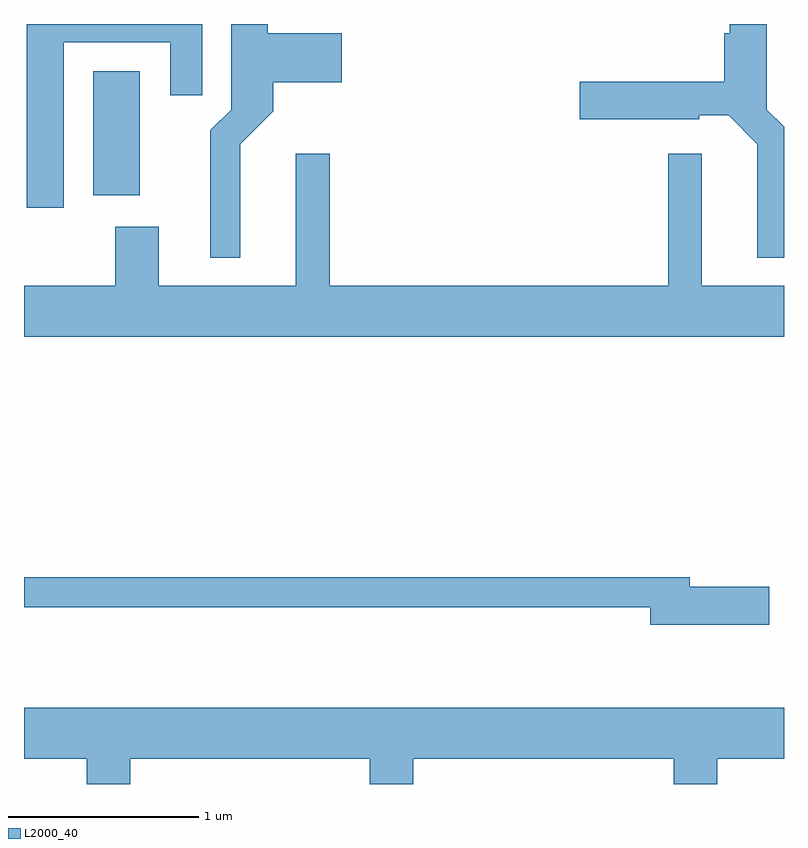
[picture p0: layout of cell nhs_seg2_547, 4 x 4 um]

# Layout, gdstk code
import gdstk
lib = gdstk.Library(unit=1e-6, precision=1e-09)
def R(c, l, rs):  # rectangles x0, y0, x1, y1
    for r in rs: c.add(gdstk.rectangle(r[:2], r[2:], *l))
def P(c, l, *ps):  # polygons
    for p in ps: c.add(gdstk.Polygon(p, *l))
L2000_40 = (2000, 40)

nhs_seg2_547 = lib.new_cell('nhs_seg2_547')
R(nhs_seg2_547, L2000_40, [(201.976,986.901,202.219,987.554)])
P(nhs_seg2_547, L2000_40, [(202.749,987.169),(202.924,987.344),(202.924,987.496),(203.284,987.496),(203.284,987.754),(202.894,987.754),(202.894,987.802),(202.701,987.802),(202.701,987.352),(202.591,987.242),(202.591,986.573),(202.749,986.573)],
  [(205.611,987.26),(205.519,987.352),(205.519,987.802),(205.326,987.802),(205.326,987.754),(205.296,987.754),(205.296,987.499),(204.536,987.499),(204.536,987.301),(205.164,987.301),(205.164,987.321),(205.319,987.321),(205.471,987.169),(205.471,986.573),(205.611,986.573)],
  [(201.819,987.706),(202.381,987.706),(202.381,987.428),(202.549,987.428),(202.549,987.802),(201.626,987.802),(201.626,986.836),(201.819,986.836)],
  [(205.611,986.424),(205.179,986.424),(205.179,987.119),(205.001,987.119),(205.001,986.424),(203.219,986.424),(203.219,987.119),(203.041,987.119),(203.041,986.424),(202.319,986.424),(202.319,986.734),(202.091,986.734),(202.091,986.424),(201.611,986.424),(201.611,986.156),(205.611,986.156)],
  [(205.534,984.839),(205.114,984.839),(205.114,984.889),(201.611,984.889),(201.611,984.731),(204.906,984.731),(204.906,984.641),(205.534,984.641)],
  [(202.169,983.936),(203.431,983.936),(203.431,983.802),(203.659,983.802),(203.659,983.936),(205.031,983.936),(205.031,983.802),(205.259,983.802),(205.259,983.936),(205.611,983.936),(205.611,984.204),(201.611,984.204),(201.611,983.936),(201.941,983.936),(201.941,983.802),(202.169,983.802)])

lib.write_gds('nhs_seg2_547.gds')
